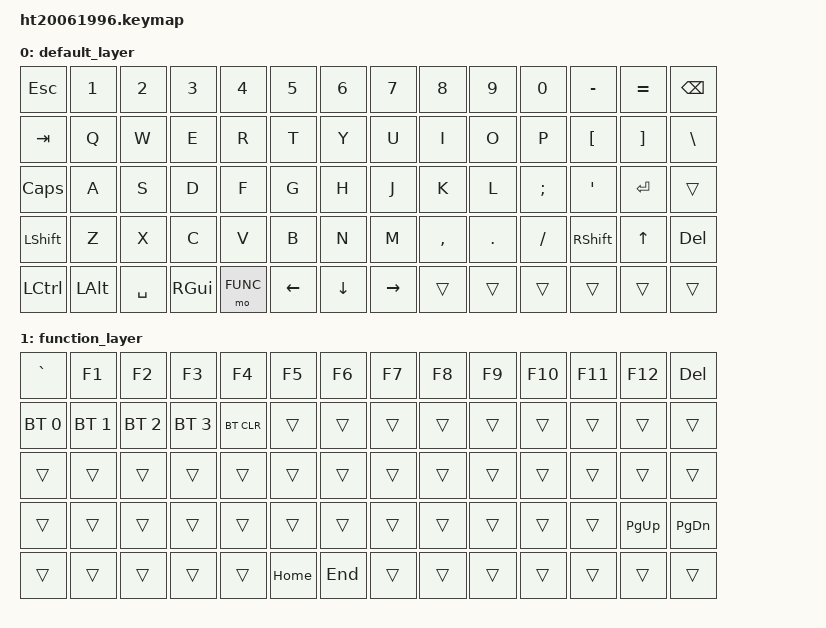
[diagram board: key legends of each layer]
#include <behaviors.dtsi>
#include <dt-bindings/zmk/keys.h>
#include <dt-bindings/zmk/bt.h>

#define FUNC 1
/ {
    keymap {
        compatible = "zmk,keymap";

        default_layer {
            bindings = <
/* Row 0 */ &kp ESC  &kp N1  &kp N2  &kp N3  &kp N4  &kp N5  &kp N6  &kp N7  &kp N8  &kp N9  &kp N0  &kp MINUS &kp EQUAL &kp BSPC
/* Row 1 */ &kp TAB  &kp Q   &kp W   &kp E   &kp R   &kp T   &kp Y   &kp U   &kp I   &kp O   &kp P   &kp LBKT  &kp RBKT  &kp BSLH
/* Row 2 */ &kp CAPS &kp A   &kp S   &kp D   &kp F   &kp G   &kp H   &kp J   &kp K   &kp L   &kp SEMI &kp SQT   &kp ENTER &trans
/* Row 3 */ &kp LSHFT &kp Z  &kp X   &kp C   &kp V   &kp B   &kp N   &kp M   &kp COMMA &kp DOT &kp FSLH &kp RSHFT &kp UP &kp DEL
/* Row 4 */ &kp LCTRL &kp LALT &kp SPACE &kp RGUI &mo FUNC &kp LEFT &kp DOWN &kp RIGHT &trans &trans &trans &trans &trans &trans
            >;
        };

        function_layer {
            bindings = <
/* Row 0 */ &kp GRAVE &kp F1 &kp F2 &kp F3 &kp F4 &kp F5 &kp F6 &kp F7 &kp F8 &kp F9 &kp F10 &kp F11 &kp F12 &kp DEL
/* Row 1 */ &bt BT_SEL 0 &bt BT_SEL 1 &bt BT_SEL 2 &bt BT_SEL 3 &bt BT_CLR &trans &trans &trans &trans &trans &trans &trans &trans &trans
/* Row 2 */ &trans &trans &trans &trans &trans &trans &trans &trans &trans &trans &trans &trans &trans &trans
/* Row 3 */ &trans &trans &trans &trans &trans &trans &trans &trans &trans &trans &trans &trans &kp PG_UP &kp PG_DN
/* Row 4 */ &trans &trans &trans &trans &trans &kp HOME &kp END &trans &trans &trans &trans &trans &trans &trans
            >;
        };
    };
    
        extra1 {
            status = "reserved";
        };

    combos {
        compatible = "zmk,combos";

        combo_bootloader {
            timeout-ms = <50>;
            key-positions = <0 1>;
            bindings = <&bootloader>;
        };

        combo_sys_reset {
            timeout-ms = <50>;
            key-positions = <2 3>;
            bindings = <&sys_reset>;
        };
    };
};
